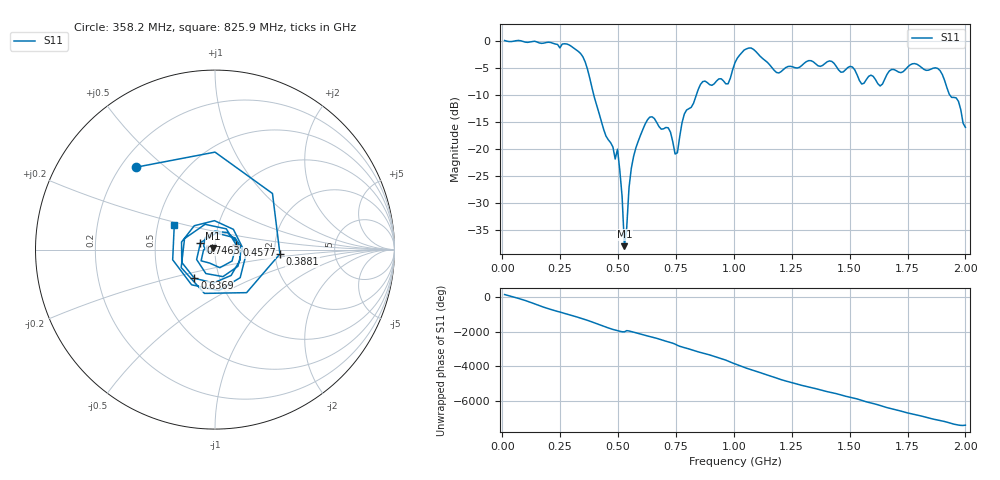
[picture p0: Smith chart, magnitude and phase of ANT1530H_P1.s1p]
!Created with skrf (http://scikit-rf.org).
# Hz S RI R 50.0
!freq ReS11 ImS11
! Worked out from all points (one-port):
!   201 points, 10 MHz to 2 GHz, reference 50 ohm
!   lowest |S11| = -38.0 dB at 527.4 MHz (marker M1), VSWR 1.03, Z = 49 + j0.687 ohm
!   |S11| at or under -10 dB: 395 MHz to 838.3 MHz (443.3 MHz wide, 71.9 % of centre); 1.932 GHz to end of sweep
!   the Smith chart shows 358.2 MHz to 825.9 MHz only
!   S11 on the Smith chart (normalised r, x): 358.2 MHz: 0.26, +0.40; 388.1 MHz: 2.13, -0.12; 457.8 MHz: 1.27, +0.07; 636.9 MHz: 0.76, -0.25; 746.3 MHz: 0.85, +0.07; 825.9 MHz: 0.61, +0.18
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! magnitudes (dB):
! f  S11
! 10 MHz  0.0
! 258.8 MHz  -0.6
! 358.2 MHz  -3.9
! 388.1 MHz  -8.8
! 457.8 MHz  -18.3
! 487.6 MHz  -21.9
! 497.6 MHz  -20.0
! 507.5 MHz  -23.9
! 527.4 MHz  -38.0
! 547.3 MHz  -27.2
! 567.2 MHz  -21.3
! 636.9 MHz  -14.1
! 716.5 MHz  -16.1
! 746.3 MHz  -20.9
! 756.2 MHz  -20.7
! 786.1 MHz  -13.5
! 825.9 MHz  -11.6
! 865.7 MHz  -7.5
! 975.1 MHz  -7.9
! 1.005 GHz  -4.0
! 1.075 GHz  -1.3
! 1.184 GHz  -5.9
! 1.254 GHz  -4.8
! 1.502 GHz  -4.7
! 1.632 GHz  -8.4
! 1.751 GHz  -4.8
! 1.891 GHz  -5.5
! 2 GHz  -16.0
